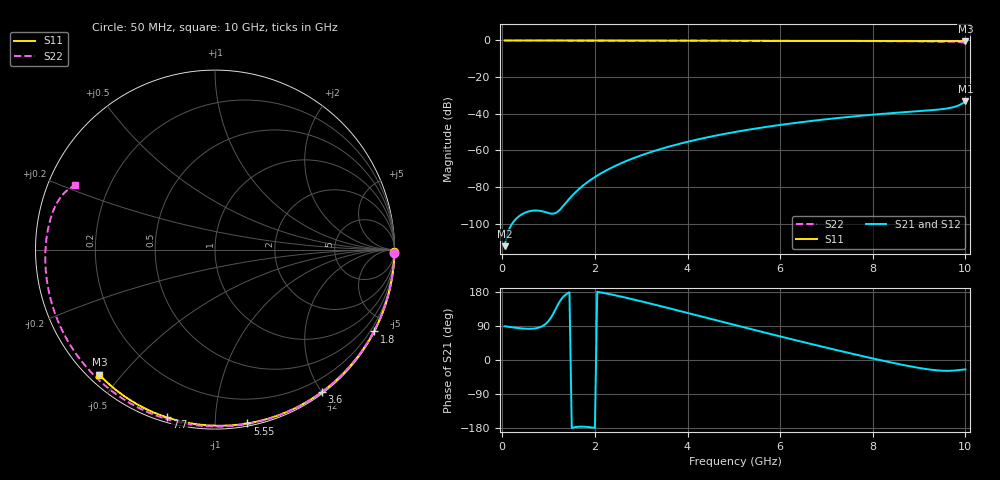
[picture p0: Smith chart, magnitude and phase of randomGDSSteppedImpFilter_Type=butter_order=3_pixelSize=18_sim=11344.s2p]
! freq	dB(S11)	phase(S11)	dB(S12)	phase(S12)
!  dB(S21)	phase(S21)	dB(S22)	phase(S22)
!S-par simulation data
#  GHz  S  DB  R 50
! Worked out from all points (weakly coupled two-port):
!   200 points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, 50 MHz to 10 GHz, reference 50 ohm
!   highest |S21| = -33.17 dB at 10 GHz (marker M1); lowest = -112.3 dB at 50 MHz (marker M2)
!   lowest |S11| = -0.5 dB at 10 GHz (marker M3), VSWR 38.45, Z = 1.55 - j21.9 ohm
!   |S11| at or under -10 dB: nowhere
!   |S22| runs from -1.3 to 0.0 dB; largest |S21 - S12| = 0
!   S11 on the Smith chart (normalised r, x): 50 MHz: open; 1.8 GHz: 0.04, -4.13; 3.6 GHz: 0.02, -2.00; 5.55 GHz: 0.02, -1.20; 7.7 GHz: 0.02, -0.75; 10 GHz: 0.03, -0.44
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0.05  -0.00 -0.8  -112.34 89.1  -112.34 89.1  -0.00 -1.2
0.45  -0.01 -6.9  -94.54 83.0  -94.54 83.0  -0.01 -10.4
0.85  -0.02 -13.0  -93.21 88.4  -93.21 88.4  -0.02 -19.7
1.7  -0.03 -25.7  -80.17 -175.9  -80.17 -175.9  -0.05 -38.9
1.75  -0.03 -26.5  -79.12 -176.0  -79.12 -176.0  -0.05 -40.0
1.8  -0.03 -27.2  -78.13 -176.3  -78.13 -176.3  -0.05 -41.1
2.1  -0.04 -31.7  -73.03 178.9  -73.03 178.9  -0.06 -47.7
2.5  -0.05 -37.5  -67.79 169.1  -67.79 169.1  -0.07 -56.3
2.9  -0.06 -43.3  -63.63 157.8  -63.63 157.8  -0.08 -64.7
3.4  -0.07 -50.4  -59.42 142.8  -59.42 142.8  -0.10 -75.1
3.6  -0.07 -53.2  -57.96 136.6  -57.96 136.6  -0.10 -79.1
4.3  -0.09 -62.9  -53.60 114.9  -53.60 114.9  -0.13 -92.9
5.05  -0.11 -73.0  -49.88 91.4  -49.88 91.4  -0.16 -107.1
5.55  -0.13 -79.5  -47.79 76.0  -47.79 76.0  -0.19 -116.3
6.1  -0.15 -86.5  -45.79 59.2  -45.79 59.2  -0.22 -126.3
6.7  -0.18 -94.0  -43.88 41.3  -43.88 41.3  -0.26 -137.0
7.7  -0.24 -106.1  -41.21 12.4  -41.21 12.4  -0.34 -154.7
8.35  -0.29 -113.8  -39.80 -5.4  -39.80 -5.4  -0.40 -166.4
9.05  -0.35 -121.9  -38.50 -21.9  -38.50 -21.9  -0.50 -179.7
9.6  -0.41 -128.2  -37.15 -28.6  -37.15 -28.6  -0.63 168.3
9.85  -0.43 -131.0  -35.52 -26.7  -35.52 -26.7  -0.85 161.0
10  -0.45 -132.7  -33.17 -24.7  -33.17 -24.7  -1.34 155.3
